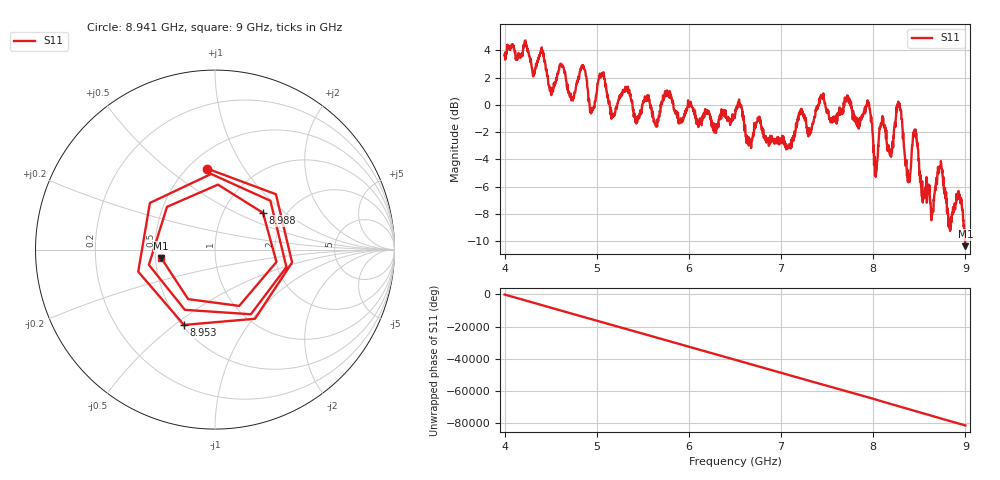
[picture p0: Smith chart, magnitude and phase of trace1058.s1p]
! Created with skrf 1.8.0 (http://scikit-rf.org).
# Hz S RI R 50.0
!freq ReS11 ImS11
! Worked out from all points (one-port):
!   1601 points, 4 GHz to 9 GHz, reference 50 ohm
!   lowest |S11| = -10.4 dB at 9 GHz (marker M1), VSWR 1.87, Z = 26.9 - j2.8 ohm
!   |S11| at or under -10 dB: 8.996741 GHz to end of sweep
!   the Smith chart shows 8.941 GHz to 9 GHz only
!   S11 on the Smith chart (normalised r, x): 8.941 GHz: 0.61, +0.70; 8.953 GHz: 0.51, -0.54; 8.988 GHz: 1.53, +0.71; 9 GHz: 0.54, -0.06
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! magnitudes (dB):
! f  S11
! 4 GHz  3.6
! 4.4 GHz  4.0
! 4.506 GHz  0.7
! 4.625 GHz  2.9
! 4.728 GHz  0.4
! 4.856 GHz  2.7
! 4.947 GHz  -0.3
! 5.05 GHz  2.1
! 5.169 GHz  -0.9
! 5.25 GHz  0.7
! 5.875 GHz  -0.6
! 6.5 GHz  -0.7
! 7.125 GHz  -2.6
! 7.75 GHz  -0.1
! 7.947 GHz  0.2
! 8.028 GHz  -5.3
! 8.088 GHz  -1.5
! 8.191 GHz  -3.5
! 8.278 GHz  -0.1
! 8.375 GHz  -5.6
! 8.456 GHz  -2.2
! 8.638 GHz  -8.1
! 8.725 GHz  -4.5
! 8.825 GHz  -9.0
! 8.941 GHz  -6.9
! 8.953 GHz  -6.9
! 8.988 GHz  -9.5
! 9 GHz  -10.4
